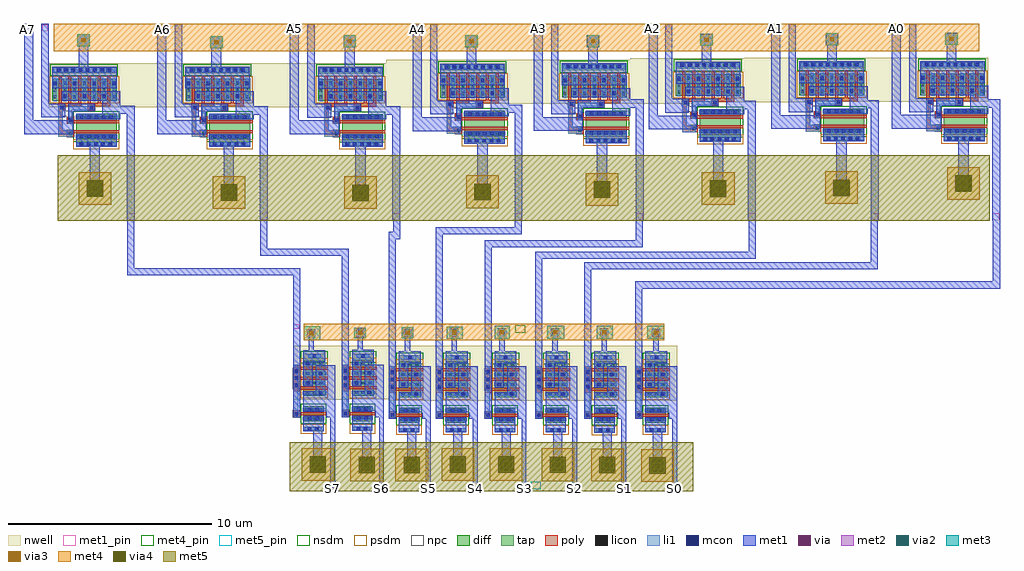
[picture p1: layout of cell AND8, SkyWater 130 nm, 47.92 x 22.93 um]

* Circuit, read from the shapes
.subckt AND8 A0 A1 A2 A3 A4 A5 A6 A7 B0 B1 B2 B3 B4 B5 B6 B7 S0 S1 S2 S3 S4 S5 S6 S7 VDD VSS
XM1 n1 B7 VSS VSS sky130_fd_pr__nfet_01v8 w=2 l=0.15
XM2 NOT8_0/A7 A7 n1 VSS sky130_fd_pr__nfet_01v8 w=2 l=0.15
XM3 n2 B6 VSS VSS sky130_fd_pr__nfet_01v8 w=2 l=0.15
XM4 NOT8_0/A6 A6 n2 VSS sky130_fd_pr__nfet_01v8 w=2 l=0.15
XM5 S7 NOT8_0/A7 VSS VSS sky130_fd_pr__nfet_01v8 w=1 l=0.15
XM6 n3 B5 VSS VSS sky130_fd_pr__nfet_01v8 w=2 l=0.15
XM7 NOT8_0/A5 A5 n3 VSS sky130_fd_pr__nfet_01v8 w=2 l=0.15
XM8 S6 NOT8_0/A6 VSS VSS sky130_fd_pr__nfet_01v8 w=1 l=0.15
XM9 S5 NOT8_0/A5 VSS VSS sky130_fd_pr__nfet_01v8 w=1 l=0.15
XM10 S4 NOT8_0/A4 VSS VSS sky130_fd_pr__nfet_01v8 w=1 l=0.15
XM11 n4 B4 VSS VSS sky130_fd_pr__nfet_01v8 w=2 l=0.15
XM12 NOT8_0/A4 A4 n4 VSS sky130_fd_pr__nfet_01v8 w=2 l=0.15
XM13 S3 NOT8_0/A3 VSS VSS sky130_fd_pr__nfet_01v8 w=1 l=0.15
XM14 S2 NOT8_0/A2 VSS VSS sky130_fd_pr__nfet_01v8 w=1 l=0.15
XM15 n5 B3 VSS VSS sky130_fd_pr__nfet_01v8 w=2 l=0.15
XM16 NOT8_0/A3 A3 n5 VSS sky130_fd_pr__nfet_01v8 w=2 l=0.15
XM17 S1 NOT8_0/A1 VSS VSS sky130_fd_pr__nfet_01v8 w=1 l=0.15
XM18 S0 NOT8_0/A0 VSS VSS sky130_fd_pr__nfet_01v8 w=1 l=0.15
XM19 n6 B2 VSS VSS sky130_fd_pr__nfet_01v8 w=2 l=0.15
XM20 NOT8_0/A2 A2 n6 VSS sky130_fd_pr__nfet_01v8 w=2 l=0.15
XM21 n7 B1 VSS VSS sky130_fd_pr__nfet_01v8 w=2 l=0.15
XM22 NOT8_0/A1 A1 n7 VSS sky130_fd_pr__nfet_01v8 w=2 l=0.15
XM23 n8 B0 VSS VSS sky130_fd_pr__nfet_01v8 w=2 l=0.15
XM24 NOT8_0/A0 A0 n8 VSS sky130_fd_pr__nfet_01v8 w=2 l=0.15
XM25 NOT8_0/A7 B7 VDD VDD sky130_fd_pr__pfet_01v8 w=1.07 l=0.15 m=3
XM26 VDD A7 NOT8_0/A7 VDD sky130_fd_pr__pfet_01v8 w=1.07 l=0.15 m=3
XM27 NOT8_0/A6 B6 VDD VDD sky130_fd_pr__pfet_01v8 w=1.07 l=0.15 m=3
XM28 VDD A6 NOT8_0/A6 VDD sky130_fd_pr__pfet_01v8 w=1.07 l=0.15 m=3
XM29 VDD NOT8_0/A7 S7 VDD sky130_fd_pr__pfet_01v8 w=1.07 l=0.15 m=3
XM30 NOT8_0/A5 B5 VDD VDD sky130_fd_pr__pfet_01v8 w=1.07 l=0.15 m=3
XM31 VDD NOT8_0/A6 S6 VDD sky130_fd_pr__pfet_01v8 w=1.07 l=0.15 m=3
XM32 VDD A5 NOT8_0/A5 VDD sky130_fd_pr__pfet_01v8 w=1.07 l=0.15 m=3
XM33 VDD NOT8_0/A5 S5 VDD sky130_fd_pr__pfet_01v8 w=1.07 l=0.15 m=3
XM34 VDD NOT8_0/A4 S4 VDD sky130_fd_pr__pfet_01v8 w=1.07 l=0.15 m=3
XM35 NOT8_0/A4 B4 VDD VDD sky130_fd_pr__pfet_01v8 w=1.07 l=0.15 m=3
XM36 VDD A4 NOT8_0/A4 VDD sky130_fd_pr__pfet_01v8 w=1.07 l=0.15 m=3
XM37 VDD NOT8_0/A3 S3 VDD sky130_fd_pr__pfet_01v8 w=1.07 l=0.15 m=3
XM38 VDD NOT8_0/A2 S2 VDD sky130_fd_pr__pfet_01v8 w=1.07 l=0.15 m=3
XM39 NOT8_0/A3 B3 VDD VDD sky130_fd_pr__pfet_01v8 w=1.07 l=0.15 m=3
XM40 VDD NOT8_0/A1 S1 VDD sky130_fd_pr__pfet_01v8 w=1.07 l=0.15 m=3
XM41 VDD A3 NOT8_0/A3 VDD sky130_fd_pr__pfet_01v8 w=1.07 l=0.15 m=3
XM42 VDD NOT8_0/A0 S0 VDD sky130_fd_pr__pfet_01v8 w=1.07 l=0.15 m=3
XM43 NOT8_0/A2 B2 VDD VDD sky130_fd_pr__pfet_01v8 w=1.07 l=0.15 m=3
XM44 VDD A2 NOT8_0/A2 VDD sky130_fd_pr__pfet_01v8 w=1.07 l=0.15 m=3
XM45 NOT8_0/A1 B1 VDD VDD sky130_fd_pr__pfet_01v8 w=1.07 l=0.15 m=3
XM46 VDD A1 NOT8_0/A1 VDD sky130_fd_pr__pfet_01v8 w=1.07 l=0.15 m=3
XM47 NOT8_0/A0 B0 VDD VDD sky130_fd_pr__pfet_01v8 w=1.07 l=0.15 m=3
XM48 VDD A0 NOT8_0/A0 VDD sky130_fd_pr__pfet_01v8 w=1.07 l=0.15 m=3
.ends

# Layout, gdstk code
from math import pi, radians
import gdstk
lib = gdstk.Library(unit=1e-6, precision=1e-09)
def R(c, l, rs):  # rectangles x0, y0, x1, y1
    for r in rs: c.add(gdstk.rectangle(r[:2], r[2:], *l))
def A(c, l, x, y, w, h, nx, ny, dx, dy):  # array of equal rectangles
    R(c, l, [(x+i*dx, y+j*dy, x+i*dx+w, y+j*dy+h) for i in range(nx) for j in range(ny)])
nwell = (64, 20)
diff = (65, 20)
tap = (65, 44)
poly = (66, 20)
licon = (66, 44)
li1 = (67, 20)
mcon = (67, 44)
met1_pin = (68, 16)
met1 = (68, 20)
via = (68, 44)
met2 = (69, 20)
via2 = (69, 44)
met3 = (70, 20)
via3 = (70, 44)
met4_pin = (71, 16)
met4 = (71, 20)
via4 = (71, 44)
met5_pin = (72, 16)
met5 = (72, 20)
nsdm = (93, 44)
psdm = (94, 20)
npc = (95, 20)

sky130_fd_pr__nfet_01v8_ = lib.new_cell('sky130_fd_pr__nfet_01v8_6H9P4D')
R(sky130_fd_pr__nfet_01v8_, diff, [(-0.365,-0.5,0.365,0.5)])
R(sky130_fd_pr__nfet_01v8_, poly, [(-0.075,-0.63,0.075,0.63)])
A(sky130_fd_pr__nfet_01v8_, licon, -0.305, -0.425, 0.17, 0.17, 1, 3, 0, 0.34)
A(sky130_fd_pr__nfet_01v8_, licon, 0.135, -0.425, 0.17, 0.17, 1, 3, 0, 0.34)
R(sky130_fd_pr__nfet_01v8_, li1, [(-0.305,-0.52,-0.135,0.52), (0.135,-0.52,0.305,0.52)])
R(sky130_fd_pr__nfet_01v8_, mcon, [(-0.305,-0.265,-0.135,-0.095), (0.135,-0.265,0.305,-0.095), (-0.305,0.095,-0.135,0.265), (0.135,0.095,0.305,0.265)])
R(sky130_fd_pr__nfet_01v8_, met1, [(-0.335,-0.5,-0.105,0.5), (0.105,-0.5,0.335,0.5)])
R(sky130_fd_pr__nfet_01v8_, nsdm, [(-0.49,-0.625,0.49,0.625)])

efepmos_w107_l15_f3 = lib.new_cell('efepmos_W107-L15-F3')
R(efepmos_w107_l15_f3, nwell, [(-1.045,-1.035,1.045,0.845)])
R(efepmos_w107_l15_f3, diff, [(-0.865,-0.535,0.865,0.535)])
A(efepmos_w107_l15_f3, poly, -0.555, -0.69, 0.15, 1.355, 3, 1, 0.48, 0)
R(efepmos_w107_l15_f3, poly, [(-0.645,-1.02,0.645,-0.69)])
A(efepmos_w107_l15_f3, licon, -0.425, -0.94, 0.17, 0.17, 3, 1, 0.34, 0)
A(efepmos_w107_l15_f3, licon, -0.805, -0.425, 0.17, 0.17, 1, 3, 0, 0.34)
A(efepmos_w107_l15_f3, licon, 0.155, -0.425, 0.17, 0.17, 1, 3, 0, 0.34)
A(efepmos_w107_l15_f3, licon, -0.325, -0.415, 0.17, 0.17, 1, 3, 0, 0.34)
A(efepmos_w107_l15_f3, licon, 0.635, -0.415, 0.17, 0.17, 1, 3, 0, 0.34)
R(efepmos_w107_l15_f3, li1, [(-0.645,-0.94,0.645,-0.77), (-0.805,-0.555,-0.635,0.555), (-0.325,-0.555,-0.155,0.585), (0.155,-0.555,0.325,0.555), (0.635,-0.555,0.805,0.585)])
A(efepmos_w107_l15_f3, mcon, -0.445, -0.94, 0.17, 0.17, 3, 1, 0.36, 0)
R(efepmos_w107_l15_f3, mcon, [(-0.805,-0.395,-0.635,-0.225), (0.155,-0.395,0.325,-0.225), (-0.325,0.215,-0.155,0.385), (0.635,0.215,0.805,0.385)])
R(efepmos_w107_l15_f3, met1, [(-0.645,-1.02,0.645,-0.69), (-1.045,-0.535,0.405,-0.08), (-0.405,0.08,1.045,0.535)])
R(efepmos_w107_l15_f3, psdm, [(-0.99,-0.66,0.99,0.66)])
R(efepmos_w107_l15_f3, npc, [(-0.525,-1.04,0.525,-0.67)])

inv = lib.new_cell('inv')
R(inv, nwell, [(1.88,0,2.06,1.83), (1.63,1.44,1.715,1.45), (1.115,1.45,1.715,1.69), (0.505,1.735,0.52,1.83), (0,1.83,2.06,2.43)])
R(inv, tap, [(0.5,-1.555,1.5,-1.34), (0.5,1.91,1.57,2.24)])
R(inv, poly, [(0.015,-0.87,0.35,-0.78), (0.015,-0.78,0.375,-0.63), (0.015,-0.63,0.35,-0.54)])
R(inv, licon, [(0.73,-1.52,0.9,-1.35), (1.07,-1.52,1.24,-1.35), (0.095,-0.79,0.265,-0.62), (0.955,2.04,1.125,2.21)])
R(inv, li1, [(0.575,-1.52,1.395,-1.35), (0.015,-0.87,0.265,1.695), (0.735,2.04,1.35,2.21)])
R(inv, mcon, [(0.72,-1.52,0.89,-1.35), (1.08,-1.52,1.25,-1.35), (0.095,-0.79,0.265,-0.62), (0.955,2.04,1.125,2.21)])
R(inv, met1, [(0.5,-1.555,1.5,-0.805), (0,-0.875,0.345,0.4), (1.64,-0.875,2.06,-0.57), (0.5,-0.57,2.06,0.41), (0,0.4,0.265,1.69), (1.115,0.41,2.06,1.69), (0.505,1.735,0.52,1.83), (0.5,1.83,1.57,2.43)])
R(inv, nsdm, [(0.375,1.785,1.695,2.365)])
R(inv, psdm, [(0.375,-1.68,1.625,-1.215)])
R(inv, npc, [(-0.005,-0.89,0.365,-0.52)])
inv.add(gdstk.Reference(sky130_fd_pr__nfet_01v8_, (1,-0.705), rotation=3*pi/2))
inv.add(gdstk.Reference(efepmos_w107_l15_f3, (1.035,1.045), rotation=3*pi/2))
inv.add(gdstk.Label('A', (0,0.39), layer=68, texttype=16))
inv.add(gdstk.Label('VSS', (0.99,-1.555), layer=68, texttype=16))
inv.add(gdstk.Label('VDD', (1.05,2.43), layer=68, texttype=16))
inv.add(gdstk.Label('Y', (2.06,0.39), layer=68, texttype=16))

not8 = lib.new_cell('NOT8')
R(not8, nwell, [(6.375,1.93,7.705,2.55), (8.655,1.93,9.985,2.55), (11.065,1.93,12.395,2.55), (13.565,1.93,14.895,2.55), (15.965,1.93,17.295,2.55), (1.68,1.99,2.305,2.53), (4.075,2,4.54,2.55), (1.555,2.53,2.305,2.545), (1.555,2.545,2.085,2.55), (-0.38,2.55,18.3,4.36), (-0.38,4.36,18.48,4.64)])
R(not8, met1_pin, [(3.87,-2.48,4.045,-2.315), (6.175,-2.48,6.35,-2.315), (8.47,-2.48,8.645,-2.315), (10.87,-2.48,11.045,-2.315), (1.47,-2.475,1.645,-2.31), (13.37,-2.475,13.545,-2.31), (18.26,-2.475,18.435,-2.31), (15.765,-2.44,15.94,-2.275), (4.36,5.44,4.615,5.675), (16.465,5.44,16.72,5.675), (6.66,5.445,6.915,5.68), (9.065,5.45,9.32,5.685), (13.965,5.45,14.22,5.685), (-0.34,5.455,-0.085,5.69), (2.065,5.455,2.32,5.69), (11.56,5.455,11.815,5.69)])
R(not8, met1, [(1.44,-2.505,1.68,1.115), (3.84,-2.505,4.08,1.185), (6.14,-2.505,6.38,1.1), (8.44,-2.505,8.68,1.095), (10.84,-2.505,11.08,1.08), (13.34,-2.505,13.58,1.095), (15.74,-2.505,15.98,1.095), (18.24,-2.505,18.48,1.145), (17.29,-1.51,17.735,0.445), (3.015,-1.48,3.46,0.445), (5.225,-1.48,5.67,0.445), (14.825,-1.475,15.27,0.445), (12.395,-1.47,12.84,0.445), (7.485,-1.455,7.93,0.445), (0.61,-1.45,1.055,0.445), (9.86,-1.45,10.305,0.445), (11.52,3.59,11.865,5.715), (16.42,3.59,16.765,5.715), (9.02,3.595,9.365,5.715), (13.92,3.605,14.265,5.715), (6.62,3.61,6.965,5.715), (4.32,3.615,4.665,5.715), (2.02,3.675,2.365,5.715), (-0.38,3.68,-0.035,5.715), (7.4,4.335,7.66,5.44), (12.355,4.335,12.615,5.455), (9.745,4.34,10.005,5.455), (14.77,4.34,15.03,5.455), (17.315,4.345,17.575,5.425), (5.115,4.35,5.375,5.43), (0.385,4.38,0.645,5.4), (2.79,4.38,3.05,5.42)])
R(not8, via, [(17.435,-1.335,17.585,-1.185), (3.16,-1.305,3.31,-1.155), (5.37,-1.305,5.52,-1.155), (14.97,-1.3,15.12,-1.15), (12.54,-1.295,12.69,-1.145), (7.63,-1.28,7.78,-1.13), (0.755,-1.275,0.905,-1.125), (10.005,-1.275,10.155,-1.125), (0.44,5.165,0.59,5.315), (2.845,5.185,2.995,5.335), (17.37,5.19,17.52,5.34), (5.17,5.195,5.32,5.345), (7.455,5.205,7.605,5.355), (9.8,5.22,9.95,5.37), (12.41,5.22,12.56,5.37), (14.825,5.22,14.975,5.37)])
R(not8, met2, [(17.265,-1.535,17.76,-1.48), (2.99,-1.505,3.485,-1.45), (5.2,-1.505,5.695,-1.45), (14.8,-1.5,15.295,-1.445), (12.37,-1.495,12.865,-1.44), (7.46,-1.48,7.955,-1.425), (17.26,-1.48,17.765,-1.035), (9.835,-1.475,10.33,-1.42), (2.985,-1.45,3.49,-1.005), (5.195,-1.45,5.7,-1.005), (14.795,-1.445,15.3,-1), (12.365,-1.44,12.87,-0.995), (7.455,-1.425,7.96,-0.98), (0.565,-1.42,1.1,-0.975), (9.83,-1.42,10.335,-0.975), (17.265,-1.035,17.76,-0.98), (2.99,-1.005,3.485,-0.95), (5.2,-1.005,5.695,-0.95), (14.8,-1,15.295,-0.945), (12.37,-0.995,12.865,-0.94), (7.46,-0.98,7.955,-0.925), (9.835,-0.975,10.33,-0.92), (0.31,5.035,0.72,5.445), (2.715,5.055,3.125,5.465), (17.24,5.06,17.65,5.47), (5.04,5.065,5.45,5.475), (7.325,5.075,7.735,5.485), (9.67,5.09,10.08,5.5), (12.28,5.09,12.69,5.5), (14.695,5.09,15.105,5.5)])
R(not8, via2, [(17.41,-1.36,17.61,-1.16), (3.135,-1.33,3.335,-1.13), (5.345,-1.33,5.545,-1.13), (14.945,-1.325,15.145,-1.125), (12.515,-1.32,12.715,-1.12), (7.605,-1.305,7.805,-1.105), (0.73,-1.3,0.93,-1.1), (9.98,-1.3,10.18,-1.1), (0.415,5.14,0.615,5.34), (2.82,5.16,3.02,5.36), (17.345,5.165,17.545,5.365), (5.145,5.17,5.345,5.37), (7.43,5.18,7.63,5.38), (9.775,5.195,9.975,5.395), (12.385,5.195,12.585,5.395), (14.8,5.195,15,5.395)])
R(not8, met3, [(0.46,-1.575,1.21,-0.84), (17.235,-1.505,17.79,-1.01), (2.96,-1.475,3.515,-0.98), (5.17,-1.475,5.725,-0.98), (14.77,-1.47,15.325,-0.975), (12.34,-1.465,12.895,-0.97), (7.43,-1.45,7.985,-0.955), (9.805,-1.445,10.36,-0.95), (0.135,4.9,0.955,5.595), (7.165,4.985,7.94,5.57), (9.515,4.985,10.27,5.62), (12.095,4.985,12.94,5.62), (14.535,4.985,15.31,5.62), (17.02,4.985,17.85,5.61), (4.955,4.99,5.53,5.545), (2.635,5.01,3.19,5.51)])
R(not8, via3, [(17.41,-1.36,17.61,-1.16), (3.135,-1.33,3.335,-1.13), (5.345,-1.33,5.545,-1.13), (14.945,-1.325,15.145,-1.125), (12.515,-1.32,12.715,-1.12), (7.605,-1.305,7.805,-1.105), (0.73,-1.3,0.93,-1.1), (9.98,-1.3,10.18,-1.1), (0.415,5.14,0.615,5.34), (2.82,5.16,3.02,5.36), (17.345,5.165,17.545,5.365), (5.145,5.17,5.345,5.37), (7.43,5.18,7.63,5.38), (9.775,5.195,9.975,5.395), (12.385,5.195,12.585,5.395), (14.8,5.195,15,5.395)])
R(not8, met4_pin, [(10.54,5.28,11.03,5.63)])
R(not8, met4, [(16.715,-2.055,18.315,-0.455), (2.44,-2.025,4.04,-0.425), (4.65,-2.025,6.25,-0.425), (14.25,-2.02,15.85,-0.42), (11.82,-2.015,13.42,-0.415), (6.91,-2,8.51,-0.4), (0.035,-1.995,1.635,-0.395), (9.285,-1.995,10.885,-0.395), (0.135,4.9,17.84,4.985), (0.135,4.985,17.85,5.715)])
R(not8, via4, [(17.115,-1.655,17.915,-0.855), (2.84,-1.625,3.64,-0.825), (5.05,-1.625,5.85,-0.825), (14.65,-1.62,15.45,-0.82), (12.22,-1.615,13.02,-0.815), (7.31,-1.6,8.11,-0.8), (0.435,-1.595,1.235,-0.795), (9.685,-1.595,10.485,-0.795)])
R(not8, met5_pin, [(11.29,-2.41,11.78,-2.06)])
R(not8, met5, [(-0.55,-2.505,19.265,-0.12), (-0.55,-0.12,2.175,-0.11)])
not8.add(gdstk.Reference(inv, (16.42,1.93)))
not8.add(gdstk.Reference(inv, (13.92,1.925)))
not8.add(gdstk.Reference(inv, (11.52,1.93)))
not8.add(gdstk.Reference(inv, (6.62,1.93)))
not8.add(gdstk.Reference(inv, (4.32,1.93)))
not8.add(gdstk.Reference(inv, (2.02,2)))
not8.add(gdstk.Reference(inv, (-0.38,1.99)))
not8.add(gdstk.Reference(inv, (9.02,1.93)))
not8.add(gdstk.Label('A7', (-0.212,5.572), layer=68, texttype=16))
not8.add(gdstk.Label('A6', (2.192,5.572), layer=68, texttype=16))
not8.add(gdstk.Label('A5', (4.487,5.557), layer=68, texttype=16))
not8.add(gdstk.Label('A4', (6.787,5.562), layer=68, texttype=16))
not8.add(gdstk.Label('A3', (9.192,5.567), layer=68, texttype=16))
not8.add(gdstk.Label('A2', (11.687,5.572), layer=68, texttype=16))
not8.add(gdstk.Label('A1', (14.092,5.567), layer=68, texttype=16))
not8.add(gdstk.Label('A0', (16.592,5.557), layer=68, texttype=16))
not8.add(gdstk.Label('S0', (18.347,-2.392), layer=68, texttype=16))
not8.add(gdstk.Label('S1', (15.852,-2.357), layer=68, texttype=16))
not8.add(gdstk.Label('S2', (13.457,-2.392), layer=68, texttype=16))
not8.add(gdstk.Label('S3', (10.957,-2.397), layer=68, texttype=16))
not8.add(gdstk.Label('S4', (8.557,-2.397), layer=68, texttype=16))
not8.add(gdstk.Label('S5', (6.262,-2.397), layer=68, texttype=16))
not8.add(gdstk.Label('S6', (3.957,-2.397), layer=68, texttype=16))
not8.add(gdstk.Label('S7', (1.557,-2.392), layer=68, texttype=16))
not8.add(gdstk.Label('VDD', (10.785,5.455), layer=71, texttype=16))
not8.add(gdstk.Label('VSS', (11.535,-2.235), layer=72, texttype=16))

pmos_p2_w321_l015_f3 = lib.new_cell('pmos_p2-w321-L015-f3')
R(pmos_p2_w321_l015_f3, nwell, [(-1.765,-0.715,1.765,0.845)])
R(pmos_p2_w321_l015_f3, diff, [(-1.585,-0.535,1.585,0.535)])
A(pmos_p2_w321_l015_f3, poly, -1.275, -0.69, 0.15, 1.355, 6, 1, 0.48, 0)
R(pmos_p2_w321_l015_f3, poly, [(-1.275,0.665,-0.165,0.815), (0.165,0.665,1.275,0.815)])
A(pmos_p2_w321_l015_f3, licon, -1.525, -0.425, 0.17, 0.17, 7, 3, 0.48, 0.34)
A(pmos_p2_w321_l015_f3, li1, -1.525, -0.555, 0.17, 1.11, 7, 1, 0.48, 0)
A(pmos_p2_w321_l015_f3, mcon, -1.525, -0.39, 0.17, 0.17, 4, 1, 0.96, 0)
A(pmos_p2_w321_l015_f3, mcon, -1.045, 0.22, 0.17, 0.17, 3, 1, 0.96, 0)
R(pmos_p2_w321_l015_f3, met1, [(-1.585,-0.535,1.585,-0.075), (-1.125,0.075,1.585,0.535)])
R(pmos_p2_w321_l015_f3, psdm, [(-1.71,-0.66,1.71,0.66)])

nmos_2shared_w200_l015_f = lib.new_cell('nmos_2shared_W200-L015-F1')
R(nmos_2shared_w200_l015_f, diff, [(-0.625,-1,0.625,1)])
R(nmos_2shared_w200_l015_f, poly, [(-0.315,-1.13,-0.165,1.13), (0.165,-1.13,0.315,1.13)])
A(nmos_2shared_w200_l015_f, licon, -0.565, -0.935, 0.17, 0.17, 1, 6, 0, 0.34)
A(nmos_2shared_w200_l015_f, licon, 0.395, -0.935, 0.17, 0.17, 1, 6, 0, 0.34)
R(nmos_2shared_w200_l015_f, li1, [(-0.565,-1.02,-0.395,1.02), (0.395,-1.02,0.565,1.02)])
A(nmos_2shared_w200_l015_f, mcon, -0.565, -0.805, 0.17, 0.17, 1, 5, 0, 0.36)
A(nmos_2shared_w200_l015_f, mcon, 0.395, -0.805, 0.17, 0.17, 1, 5, 0, 0.36)
R(nmos_2shared_w200_l015_f, met1, [(-0.595,-1,-0.365,1), (0.365,-1,0.595,1)])
R(nmos_2shared_w200_l015_f, nsdm, [(-0.75,-1.125,0.75,1.125)])

nand2 = lib.new_cell('NAND2')
R(nand2, nwell, [(1.78,3.42,5.31,4.02)])
R(nand2, diff, [(3.13,0.27,5.13,0.3), (4.97,0.73,4.98,0.74)])
R(nand2, tap, [(3.13,-0.085,5.13,0.27), (1.98,3.51,5.065,3.84)])
R(nand2, poly, [(2.265,0.395,3.02,0.73), (2.265,0.73,2.48,1.705), (2.69,1.06,3.57,1.21), (2.69,1.21,3.02,1.395), (2.265,1.705,2.6,2.04), (3.71,1.705,4.045,2.04)])
A(nand2, licon, 3.335, -0.03, 0.17, 0.17, 5, 1, 0.34, 0)
A(nand2, licon, 2.245, 3.6, 0.17, 0.17, 8, 1, 0.34, 0)
R(nand2, licon, [(2.77,0.475,2.94,0.645), (2.77,1.14,2.94,1.31), (2.35,1.76,2.52,1.93), (3.795,1.76,3.965,1.93)])
R(nand2, li1, [(3.13,-0.03,5.13,0.14), (2.265,0.395,2.94,0.73), (2.265,0.73,2.48,1.76), (2.77,1.06,2.94,1.735), (2.77,1.735,4.045,1.905), (2.265,1.76,2.6,1.935), (3.71,1.905,4.045,1.935), (2.02,3.57,5.065,3.805)])
A(nand2, mcon, 3.295, -0.03, 0.17, 0.17, 5, 1, 0.36, 0)
A(nand2, mcon, 2.175, 3.6, 0.17, 0.17, 8, 1, 0.36, 0)
R(nand2, mcon, [(2.77,1.14,2.94,1.31), (2.35,1.76,2.52,1.93), (3.795,1.76,3.965,1.93)])
R(nand2, met1, [(3.13,-0.085,5.13,0.525), (1.78,0.525,2.99,1.205), (2.74,1.205,2.99,1.66), (3.13,1.26,5.31,1.52), (1.78,1.35,2.6,2.025), (4.42,1.52,5.31,2.17), (2.74,1.66,4.04,2.03), (2.425,2.17,5.31,2.63), (1.955,2.775,5.125,3.84)])
R(nand2, nsdm, [(3.005,0.27,5.255,0.425), (4.845,0.425,5.105,0.865), (1.855,3.385,5.19,3.965)])
R(nand2, psdm, [(3.005,-0.21,5.255,0.27)])
R(nand2, npc, [(2.67,0.375,3.04,0.745), (2.67,1.04,3.04,1.4), (2.35,1.4,3.04,1.41), (2.35,1.41,2.94,1.66), (2.25,1.66,2.94,1.67), (3.695,1.66,4.065,2.03), (2.25,1.67,2.62,2.03)])
nand2.add(gdstk.Reference(pmos_p2_w321_l015_f3, (3.545,2.705), x_reflection=True))
nand2.add(gdstk.Reference(nmos_2shared_w200_l015_f, (4.13,0.895), rotation=3*pi/2))
nand2.add(gdstk.Label('A', (1.78,1.705), layer=68, texttype=16))
nand2.add(gdstk.Label('B', (1.78,0.865), layer=68, texttype=16))
nand2.add(gdstk.Label('VSS', (4.13,0.27), layer=68, texttype=16))
nand2.add(gdstk.Label('VDD', (3.545,3.42), layer=68, texttype=16))
nand2.add(gdstk.Label('Y', (5.31,2.255), layer=68, texttype=16))

nand8 = lib.new_cell('NAND8')
R(nand8, nwell, [(-14.91,1.895,-11.025,1.9), (-14.91,1.9,-5.025,1.905), (-25.095,1.905,-5.025,2.055), (-25.095,2.055,0.945,2.065), (-25.095,2.065,6.54,2.14), (-25.095,2.14,12.605,2.165), (-25.095,2.165,18.53,2.17), (-25.095,2.17,21.05,4.06), (-25.095,4.06,-15.02,4.065), (-8.505,4.06,21.05,4.215), (-2.505,4.215,21.05,4.225), (3.465,4.225,21.05,4.3), (9.06,4.3,21.05,4.325), (15.125,4.325,21.05,4.33)])
R(nand8, met1_pin, [(-2.19,-3.65,-1.865,-3.305), (9.27,-3.65,9.595,-3.305), (-21.22,-3.645,-20.895,-3.3), (-8.185,-3.645,-7.86,-3.3), (3.76,-3.645,4.085,-3.3), (15.285,-3.645,15.61,-3.3), (21.265,-3.645,21.59,-3.3), (-14.69,-3.64,-14.365,-3.295), (16.34,5.535,16.71,5.945), (17.195,5.535,17.49,5.94), (10.41,5.545,10.805,5.96), (11.28,5.545,11.58,5.955), (4.395,5.55,4.765,5.955), (5.225,5.565,5.495,5.955), (-7.175,5.6,-6.81,5.94), (-6.325,5.605,-6.045,5.94), (-1.235,5.605,-0.875,5.95), (-0.4,5.605,-0.09,5.95), (-19.725,5.635,-19.35,5.955), (-18.85,5.635,-18.58,5.95), (-26.255,5.66,-25.92,5.945), (-25.41,5.66,-25.13,5.945), (-13.205,5.665,-12.86,5.945), (-12.345,5.665,-12.065,5.94)])
R(nand8, met1, [(-21.25,-3.67,-20.86,1.565), (-14.725,-3.67,-14.335,1.525), (-8.215,-3.67,-7.825,1.535), (-2.215,-3.67,-1.825,1.615), (3.73,-3.67,4.12,1.88), (9.24,-3.67,9.63,1.8), (15.265,-3.67,15.655,1.84), (21.23,-3.67,21.62,1.88), (-10.025,-2.585,-9.52,0.345), (-16.495,-2.57,-15.99,0.21), (-4.035,-2.54,-3.53,0.385), (1.825,-2.425,2.33,0.435), (7.53,-2.385,8.035,0.48), (-23.075,-2.37,-22.57,0.13), (13.59,-2.34,14.095,0.54), (19.57,-2.125,20.075,0.515), (-13.245,0.565,-12.035,1.245), (-26.3,0.57,-24.985,1.25), (-19.75,0.57,-18.54,1.25), (-7.215,0.72,-6.005,1.4), (-1.275,0.73,-0.065,1.41), (4.365,0.805,5.575,1.485), (10.39,0.83,11.6,1.51), (16.31,0.835,17.52,1.515), (-13.245,1.245,-12.8,5.985), (-26.3,1.25,-25.855,5.985), (-19.75,1.25,-19.305,5.985), (-12.395,1.39,-12.035,5.985), (-25.45,1.395,-25.09,5.985), (-18.9,1.395,-18.54,5.985), (-7.215,1.4,-6.77,5.985), (-1.275,1.41,-0.83,5.985), (4.365,1.485,4.81,5.985), (10.39,1.51,10.835,5.985), (16.31,1.515,16.755,5.985), (-15.04,1.525,-14.335,1.935), (-8.505,1.535,-7.825,1.945), (-6.365,1.545,-6.005,5.985), (-0.425,1.555,-0.065,5.985), (-21.9,1.565,-20.86,1.975), (-2.56,1.615,-1.825,2.025), (5.18,1.63,5.575,2.135), (11.24,1.655,11.6,5.985), (17.16,1.66,17.52,5.985), (9.01,1.8,9.63,2.21), (15.11,1.84,15.655,2.25), (3.455,1.88,4.12,2.29), (21.02,1.88,21.62,2.29), (5.18,2.135,5.53,5.985), (5.57,2.135,5.575,2.305), (-23.62,3.56,-23.14,4.91), (-17.095,3.585,-16.61,4.81), (-10.55,3.755,-10.07,4.86), (6.97,3.795,7.45,4.93), (-4.57,3.855,-4.09,4.86), (1.4,3.88,1.88,4.86), (19,3.925,19.48,4.98), (13.13,3.96,13.61,4.96), (-17.13,4.81,-16.57,5.37), (-10.59,4.86,-10.03,5.42), (-4.61,4.86,-4.05,5.42), (1.36,4.86,1.92,5.42), (-23.66,4.91,-23.1,5.47), (6.93,4.93,7.49,5.49), (13.09,4.96,13.65,5.52), (18.96,4.98,19.52,5.54)])
R(nand8, via, [(-9.85,-2.38,-9.7,-2.23), (-16.32,-2.365,-16.17,-2.215), (-3.86,-2.335,-3.71,-2.185), (2,-2.22,2.15,-2.07), (7.705,-2.18,7.855,-2.03), (-22.9,-2.165,-22.75,-2.015), (13.765,-2.135,13.915,-1.985), (19.745,-1.92,19.895,-1.77), (-16.925,5.015,-16.775,5.165), (-10.385,5.065,-10.235,5.215), (-4.405,5.065,-4.255,5.215), (1.565,5.065,1.715,5.215), (-23.455,5.115,-23.305,5.265), (7.135,5.135,7.285,5.285), (13.295,5.165,13.445,5.315), (19.165,5.185,19.315,5.335)])
R(nand8, met2, [(-10.1,-2.605,-9.46,-1.99), (-16.57,-2.59,-15.93,-1.975), (-4.11,-2.56,-3.47,-1.945), (1.75,-2.445,2.39,-1.83), (7.455,-2.405,8.095,-1.79), (-23.15,-2.39,-22.51,-1.775), (13.515,-2.36,14.155,-1.745), (19.495,-2.145,20.135,-1.53), (-17.14,4.8,-16.56,5.38), (-10.6,4.85,-10.02,5.43), (-4.62,4.85,-4.04,5.43), (1.35,4.85,1.93,5.43), (-23.67,4.9,-23.09,5.48), (6.92,4.92,7.5,5.5), (13.08,4.95,13.66,5.53), (18.95,4.97,19.53,5.55)])
R(nand8, via2, [(-9.875,-2.405,-9.675,-2.205), (-16.345,-2.39,-16.145,-2.19), (-3.885,-2.36,-3.685,-2.16), (1.975,-2.245,2.175,-2.045), (7.68,-2.205,7.88,-2.005), (-22.925,-2.19,-22.725,-1.99), (13.74,-2.16,13.94,-1.96), (19.72,-1.945,19.92,-1.745), (-16.95,4.99,-16.75,5.19), (-10.41,5.04,-10.21,5.24), (-4.43,5.04,-4.23,5.24), (1.54,5.04,1.74,5.24), (-23.48,5.09,-23.28,5.29), (7.11,5.11,7.31,5.31), (13.27,5.14,13.47,5.34), (19.14,5.16,19.34,5.36)])
R(nand8, met3, [(-10.18,-2.72,-9.4,-1.905), (-16.65,-2.705,-15.87,-1.89), (-4.19,-2.675,-3.41,-1.86), (1.67,-2.56,2.45,-1.745), (7.375,-2.52,8.155,-1.705), (-23.23,-2.505,-22.45,-1.69), (13.435,-2.475,14.215,-1.66), (19.415,-2.26,20.195,-1.445), (-17.15,4.79,-16.55,5.39), (-10.61,4.84,-10.01,5.44), (-4.63,4.84,-4.03,5.44), (1.34,4.84,1.94,5.44), (-23.68,4.89,-23.08,5.49), (6.91,4.91,7.51,5.51), (13.07,4.94,13.67,5.54), (18.94,4.96,19.54,5.56)])
R(nand8, via3, [(-9.875,-2.405,-9.675,-2.205), (-16.345,-2.39,-16.145,-2.19), (-3.885,-2.36,-3.685,-2.16), (1.975,-2.245,2.175,-2.045), (7.68,-2.205,7.88,-2.005), (-22.925,-2.19,-22.725,-1.99), (13.74,-2.16,13.94,-1.96), (19.72,-1.945,19.92,-1.745), (-16.95,4.99,-16.75,5.19), (-10.41,5.04,-10.21,5.24), (-4.43,5.04,-4.23,5.24), (1.54,5.04,1.74,5.24), (-23.48,5.09,-23.28,5.29), (7.11,5.11,7.31,5.31), (13.27,5.14,13.47,5.34), (19.14,5.16,19.34,5.36)])
R(nand8, met4, [(-10.57,-3.1,-8.97,-1.5), (-17.04,-3.085,-15.44,-1.485), (-4.58,-3.055,-2.98,-1.455), (1.28,-2.94,2.88,-1.34), (6.985,-2.9,8.585,-1.3), (-23.62,-2.885,-22.02,-1.285), (13.045,-2.855,14.645,-1.255), (19.025,-2.64,20.625,-1.04), (-24.85,4.635,20.61,5.985)])
R(nand8, via4, [(-10.17,-2.7,-9.37,-1.9), (-16.64,-2.685,-15.84,-1.885), (-4.18,-2.655,-3.38,-1.855), (1.68,-2.54,2.48,-1.74), (7.385,-2.5,8.185,-1.7), (-23.22,-2.485,-22.42,-1.685), (13.445,-2.455,14.245,-1.655), (19.425,-2.24,20.225,-1.44)])
R(nand8, met5, [(-24.65,-3.67,21.105,-0.46)])
nand8.add(gdstk.Reference(nand2, (-13.815,0.04)))
nand8.add(gdstk.Reference(nand2, (-20.33,0.045)))
nand8.add(gdstk.Reference(nand2, (9.815,0.305)))
nand8.add(gdstk.Reference(nand2, (3.75,0.28)))
nand8.add(gdstk.Reference(nand2, (-26.875,0.045)))
nand8.add(gdstk.Reference(nand2, (-7.815,0.195)))
nand8.add(gdstk.Reference(nand2, (-1.845,0.205)))
nand8.add(gdstk.Reference(nand2, (15.74,0.31)))
nand8.add(gdstk.Label('A0', (-26.087,5.802), layer=68, texttype=16))
nand8.add(gdstk.Label('B0', (-25.27,5.802), layer=68, texttype=16))
nand8.add(gdstk.Label('A1', (-19.537,5.795), layer=68, texttype=16))
nand8.add(gdstk.Label('B1', (-18.715,5.792), layer=68, texttype=16))
nand8.add(gdstk.Label('A2', (-13.032,5.805), layer=68, texttype=16))
nand8.add(gdstk.Label('B2', (-12.205,5.802), layer=68, texttype=16))
nand8.add(gdstk.Label('A3', (-6.992,5.77), layer=68, texttype=16))
nand8.add(gdstk.Label('B3', (-6.185,5.772), layer=68, texttype=16))
nand8.add(gdstk.Label('A4', (-1.055,5.777), layer=68, texttype=16))
nand8.add(gdstk.Label('B4', (-0.245,5.777), layer=68, texttype=16))
nand8.add(gdstk.Label('A5', (4.58,5.752), layer=68, texttype=16))
nand8.add(gdstk.Label('B5', (5.36,5.76), layer=68, texttype=16))
nand8.add(gdstk.Label('A6', (10.607,5.752), layer=68, texttype=16))
nand8.add(gdstk.Label('B6', (11.43,5.75), layer=68, texttype=16))
nand8.add(gdstk.Label('A7', (16.525,5.74), layer=68, texttype=16))
nand8.add(gdstk.Label('B7', (17.342,5.737), layer=68, texttype=16))
nand8.add(gdstk.Label('P0', (-21.057,-3.472), layer=68, texttype=16))
nand8.add(gdstk.Label('P1', (-14.527,-3.467), layer=68, texttype=16))
nand8.add(gdstk.Label('P2', (-8.022,-3.472), layer=68, texttype=16))
nand8.add(gdstk.Label('P3', (-2.027,-3.477), layer=68, texttype=16))
nand8.add(gdstk.Label('P4', (3.922,-3.472), layer=68, texttype=16))
nand8.add(gdstk.Label('P5', (9.432,-3.477), layer=68, texttype=16))
nand8.add(gdstk.Label('P6', (15.447,-3.472), layer=68, texttype=16))
nand8.add(gdstk.Label('P7', (21.427,-3.472), layer=68, texttype=16))

and8 = lib.new_cell('AND8')
R(and8, met1_pin, [(27,-13.22,27.1,-13.13), (31.89,-13.22,31.99,-13.13), (15.08,-13.21,15.18,-13.12), (19.8,-13.21,19.9,-13.12), (22.12,-13.21,22.22,-13.12), (24.51,-13.21,24.61,-13.12), (29.41,-13.21,29.51,-13.12), (17.5,-13.2,17.6,-13.11), (0.09,9.25,0.27,9.56), (6.69,9.25,6.87,9.56), (19.22,9.25,19.4,9.56), (30.79,9.26,30.97,9.57), (42.74,9.26,42.92,9.57), (43.55,9.26,43.73,9.57), (7.51,9.27,7.69,9.58), (13.17,9.27,13.35,9.58), (14,9.27,14.18,9.58), (25.97,9.27,26.15,9.58), (20.03,9.28,20.21,9.59), (25.16,9.28,25.34,9.59), (31.56,9.28,31.74,9.59), (36.83,9.28,37.01,9.59), (37.62,9.28,37.8,9.59), (0.94,9.29,1.12,9.6)])
A(and8, met1, 17.46, -13.25, 0.18, 0.16, 3, 1, 2.3, 0)
R(and8, met1, [(15.06,-13.25,15.24,-13.09), (24.46,-13.25,24.64,-13.09), (26.96,-13.25,27.14,-13.09), (31.86,-13.25,32.04,-13.09), (29.36,-13.23,29.54,-13.07), (22.61,-5.48,22.955,-1.305), (25.11,-5.47,25.455,-1.865), (27.51,-5.44,27.855,-2.395), (13.21,-5.405,13.555,-2.675), (30.01,-5.405,30.355,-3.335), (17.91,-5.39,18.255,-0.905), (15.61,-5.36,15.955,-1.725), (20.21,-5.36,20.555,-0.665), (30.01,-3.335,47.92,-2.99), (47.575,-2.99,47.92,0.35), (5.06,-2.675,13.555,-2.33), (27.51,-2.395,41.91,-2.05), (5.06,-2.33,5.405,0.35), (41.565,-2.05,41.91,0.39), (25.11,-1.865,35.93,-1.52), (11.59,-1.725,15.955,-1.38), (35.585,-1.52,35.93,0.45), (11.59,-1.38,11.935,0.25), (22.61,-1.305,30.37,-0.96), (30.025,-0.96,30.37,0.28), (17.91,-0.905,18.47,-0.56), (20.21,-0.665,24.45,-0.32), (18.125,-0.56,18.47,0.35), (24.105,-0.32,24.45,0.33), (6.59,9.18,6.95,9.62), (19.13,9.2,19.49,9.61), (13.09,9.21,13.45,9.62), (0.03,9.22,0.39,9.62), (13.95,9.22,14.22,9.61), (7.45,9.23,7.72,9.62), (19.97,9.23,20.26,9.61), (30.75,9.23,30.99,9.6), (25.95,9.24,26.19,9.61), (42.7,9.24,42.94,9.61), (43.53,9.24,43.77,9.61), (25.12,9.25,25.36,9.62), (31.54,9.25,31.78,9.62), (37.59,9.25,37.83,9.62), (0.89,9.26,1.17,9.62), (36.79,9.26,37.03,9.63)])
and8.add(gdstk.Reference(not8, (13.59,-10.775)))
and8.add(gdstk.Reference(nand8, (26.3,3.67)))
and8.add(gdstk.Label('A7', (0.18,9.405), layer=68, texttype=16))
and8.add(gdstk.Label('B7', (1.03,9.445), layer=68, texttype=16))
and8.add(gdstk.Label('A6', (6.78,9.405), layer=68, texttype=16))
and8.add(gdstk.Label('B6', (7.6,9.425), layer=68, texttype=16))
and8.add(gdstk.Label('A5', (13.26,9.425), layer=68, texttype=16))
and8.add(gdstk.Label('B5', (14.09,9.425), layer=68, texttype=16))
and8.add(gdstk.Label('A4', (19.31,9.405), layer=68, texttype=16))
and8.add(gdstk.Label('B4', (20.12,9.435), layer=68, texttype=16))
and8.add(gdstk.Label('A3', (25.25,9.435), layer=68, texttype=16))
and8.add(gdstk.Label('B3', (26.06,9.425), layer=68, texttype=16))
and8.add(gdstk.Label('A2', (30.88,9.415), layer=68, texttype=16))
and8.add(gdstk.Label('B2', (31.65,9.435), layer=68, texttype=16))
and8.add(gdstk.Label('A1', (36.92,9.435), layer=68, texttype=16))
and8.add(gdstk.Label('B1', (37.71,9.435), layer=68, texttype=16))
and8.add(gdstk.Label('A0', (42.83,9.415), layer=68, texttype=16))
and8.add(gdstk.Label('B0', (43.64,9.415), layer=68, texttype=16))
and8.add(gdstk.Label('S0', (31.94,-13.175), layer=68, texttype=16))
and8.add(gdstk.Label('S1', (29.46,-13.165), layer=68, texttype=16))
and8.add(gdstk.Label('S2', (27.05,-13.175), layer=68, texttype=16))
and8.add(gdstk.Label('S3', (24.56,-13.165), layer=68, texttype=16))
and8.add(gdstk.Label('S4', (22.17,-13.165), layer=68, texttype=16))
and8.add(gdstk.Label('S5', (19.85,-13.165), layer=68, texttype=16))
and8.add(gdstk.Label('S6', (17.55,-13.155), layer=68, texttype=16))
and8.add(gdstk.Label('S7', (15.13,-13.165), layer=68, texttype=16))

lib.write_gds('AND8.gds')
